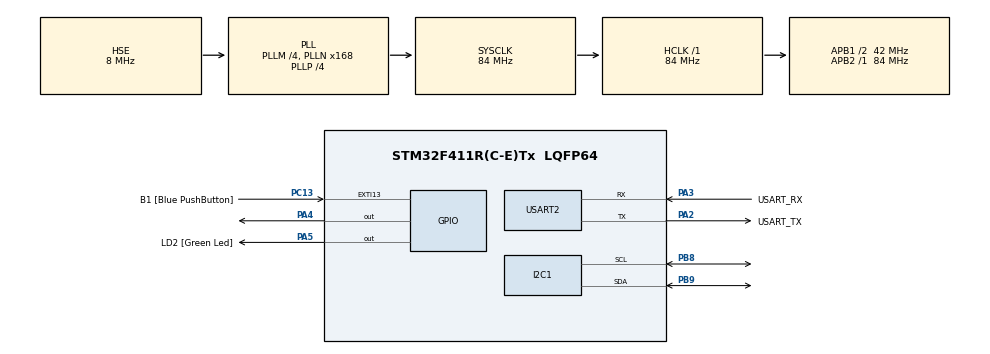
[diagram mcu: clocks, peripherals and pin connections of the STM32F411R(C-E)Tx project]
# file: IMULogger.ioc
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FREERTOS.Tasks01=defaultTask,24,128,StartDefaultTask,Default,NULL,Dynamic,NULL,NULL
FREERTOS.configCHECK_FOR_STACK_OVERFLOW=2
Mcu.Family=STM32F4
Mcu.Name=STM32F411R(C-E)Tx
Mcu.Package=LQFP64
NVIC.PriorityGroup=NVIC_PRIORITYGROUP_4
NVIC.TIM1_UP_TIM10_IRQn=true\:0\:0\:true\:false\:true\:false\:false\:true\:true
NVIC.TimeBase=TIM1_UP_TIM10_IRQn
NVIC.TimeBaseIP=TIM1
PA13.GPIO_Label=TMS
PA13.Mode=Serial_Wire
PA13.Signal=SYS_JTMS-SWDIO
PA14.GPIO_Label=TCK
PA14.Mode=Serial_Wire
PA14.Signal=SYS_JTCK-SWCLK
PA2.GPIO_Label=USART_TX
PA2.Mode=Asynchronous
PA2.Signal=USART2_TX
PA3.GPIO_Label=USART_RX
PA3.Mode=Asynchronous
PA3.Signal=USART2_RX
PA4.Signal=GPIO_Output
PA5.GPIO_Label=LD2 [Green Led]
PA5.Signal=GPIO_Output
PB13.Signal=SPI2_SCK
PB14.Signal=SPI2_MISO
PB15.Signal=SPI2_MOSI
PB3.GPIO_Label=SWO
PB3.Signal=SYS_JTDO-SWO
PB8.Mode=I2C
PB8.Signal=I2C1_SCL
PB9.Mode=I2C
PB9.Signal=I2C1_SDA
PC13-ANTI_TAMP.GPIO_Label=B1 [Blue PushButton]
PC13-ANTI_TAMP.GPIO_ModeDefaultEXTI=GPIO_MODE_IT_FALLING
PC13-ANTI_TAMP.Signal=GPXTI13
PC14-OSC32_IN.Mode=LSE-External-Oscillator
PC14-OSC32_IN.Signal=RCC_OSC32_IN
PC15-OSC32_OUT.Mode=LSE-External-Oscillator
PC15-OSC32_OUT.Signal=RCC_OSC32_OUT
PH0\ -\ OSC_IN.Mode=HSE-External-Clock-Source
PH0\ -\ OSC_IN.Signal=RCC_OSC_IN
PH1\ -\ OSC_OUT.Mode=HSE-External-Clock-Source
PH1\ -\ OSC_OUT.Signal=RCC_OSC_OUT
ProjectManager.HeapSize=0x200
ProjectManager.StackSize=0x400
ProjectManager.TargetToolchain=STM32CubeIDE
RCC.48MHZClocksFreq_Value=84000000
RCC.AHBFreq_Value=84000000
RCC.APB1CLKDivider=RCC_HCLK_DIV2
RCC.APB1Freq_Value=42000000
RCC.APB1TimFreq_Value=84000000
RCC.APB2Freq_Value=84000000
RCC.APB2TimFreq_Value=84000000
RCC.CortexFreq_Value=84000000
RCC.FLatency-AdvancedSettings=FLASH_LATENCY_2
RCC.HCLKFreq_Value=84000000
RCC.HSE_VALUE=8000000
RCC.HSI_VALUE=16000000
RCC.PLLM=4
RCC.PLLN=168
RCC.PLLP=RCC_PLLP_DIV4
RCC.PLLSourceVirtual=RCC_PLLSOURCE_HSE
RCC.SYSCLKFreq_VALUE=84000000
RCC.SYSCLKSource=RCC_SYSCLKSOURCE_PLLCLK
RCC.VCOOutputFreq_Value=336000000
USART2.VirtualMode=VM_ASYNC
VP_FREERTOS_VS_CMSIS_V2.Mode=CMSIS_V2
VP_SYS_VS_tim1.Mode=TIM1
board=NUCLEO-F411RE

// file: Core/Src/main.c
/* USER CODE BEGIN Header */
/**
  ******************************************************************************
  * @file           : main.c
  * @brief          : Main program body
  ******************************************************************************
  * @attention
  *
  * Copyright (c) 2026 STMicroelectronics.
  * All rights reserved.
  *
  * This software is licensed under terms that can be found in the LICENSE file
  * in the root directory of this software component.
  * If no LICENSE file comes with this software, it is provided AS-IS.
  *
  ******************************************************************************
  */
/* USER CODE END Header */
#include "main.h"
#include "cmsis_os.h"

/* USER CODE BEGIN Includes */
#include <math.h>
#include <string.h>
#include "ff.h"
#include "FreeRTOS.h"
#include "task.h"
#include "queue.h"
/* USER CODE END Includes */

/* USER CODE BEGIN PD */
#define SD_POWER_CYCLE_TEST 0   // shield bring-up: power-cycle the SD card at boot. Set to 0 when done.

/* USER CODE END PD */

I2C_HandleTypeDef hi2c1;

UART_HandleTypeDef huart2;

/* Definitions for defaultTask */
osThreadId_t defaultTaskHandle;
const osThreadAttr_t defaultTask_attributes = {
  .name = "defaultTask",
  .stack_size = 128 * 4,
  .priority = (osPriority_t) osPriorityNormal,
};
/* USER CODE BEGIN PV */
uint8_t sd_buf[512];
FATFS fs;
FIL file;
/* USER CODE END PV */

void SystemClock_Config(void);
static void MX_GPIO_Init(void);
static void MX_USART2_UART_Init(void);
static void MX_I2C1_Init(void);
void StartDefaultTask(void *argument);

/* USER CODE BEGIN PFP */
void imu_task(void *arg);
void filter_task(void *arg);
void sd_task(void *arg);
void sdw_task(void *arg);

/* USER CODE END PFP */

/* USER CODE BEGIN 0 */
void delay_ms(uint32_t ms) {
  if (xTaskGetSchedulerState() == taskSCHEDULER_RUNNING)
    vTaskDelay(pdMS_TO_TICKS(ms));   // inside a task: sleep, CPU goes to other tasks
  else
    HAL_Delay(ms);                   // before FreeRTOS starts: busy-wait on HAL's tick
}

/* ---------------- UART2 ---------------- */
void uart2_init(void) {
  RCC->AHB1ENR |= (1 << 0);// GPIOA clock (from before)
  RCC->APB1ENR |= (1 << 17);//USARTEN enable
  	// USART2 clock (new)
  GPIOA->MODER &= ~(3 << (2*2));//Resetting the 2 pio's at pin 2 to 0
  GPIOA->MODER |= (2 << (2*2));
  GPIOA->MODER &= ~(3 << (2*3));
  GPIOA->MODER |= (2 << (2*3));
  GPIOA->AFR[0] &= ~(0xF << (4*2));
  GPIOA->AFR[0] |=  (7   << (4*2));   // PA2 → AF7 (USART2)
  GPIOA->AFR[0] &= ~(0xF << (4*3));
  GPIOA->AFR[0] |=  (7   << (4*3));   // PA3 → AF7 (USART2)

  USART2->BRR = (22 << 4) | 13; //Setting Baud Rate Register via conversion formula
  USART2->CR1 |= (1<<13); //Activating the USART2
  USART2->CR1 |= (1<<3); //Transmitter Enabled
  USART2->CR1 |= (1<<2); //Receiver Enabled
}

void sendChar(char c) {
	while (!(USART2->SR & (1<<7)));
	USART2->DR = c;
}
void sendStr(char *str) {
	while (*str) {
		sendChar(*str);
		str++;
	}
}

void sendInt(int16_t v) {
	char buf[7];
	int i = 6;
	uint16_t u;

	if (v < 0) { sendStr("-"); u = -(int32_t)v; } else u = v;

	buf[i] = '\0';
	do { buf[--i] = '0' + (u % 10); u /= 10; } while (u);
	sendStr(&buf[i]);
}

void sendFloat(float v) {
	uint16_t m;
	float u;
	float d;

	if (v < 0) { sendStr("-"); u = -(float)v; } else u = v;

	m = u;
	d = (u - m)*100;

	sendInt(m);
	sendStr(".");
	if (d < 10) {
			sendStr("0");
		}
	sendInt(d);
}

void sendHex(uint8_t b) {
	char hex[] ="0123456789ABCDEF";
	sendChar(hex[b >> 4]);
	sendChar(hex[b & 0x0F]);
}

void sendU32(uint32_t u) {          // sendInt tops out at 32767, counters can go higher
	char buf[11];
	int i = 10;
	buf[i] = '\0';
	do { buf[--i] = '0' + (u % 10); u /= 10; } while (u);
	sendStr(&buf[i]);
}

/* ---------------- I2C1 ---------------- */
void i2c1_init(void) {
  RCC->AHB1ENR |= (1 << 1);   // GPIOB clock enable (bit 1 = port B)
  RCC->APB1ENR |= (1 << 21);// I2C1EN
  GPIOB->MODER &= ~(0xF << (8*2)); // resetting pins PB8 and PB9 to 0
  GPIOB->MODER |= (0xA << (8*2)); //setting PB8 and PB9 to AF mode (1010)

  GPIOB->AFR[1] &= ~((0xF << 0) | (0xF << 4));
  GPIOB->AFR[1] |= (4 << 0) | (4 << 4);  // PB8 = AF4 (4*0), PB9 = AF4 (4*1) (I2C)

  GPIOB->OTYPER |= (1 << 8) | (1 << 9); //Setting pin 8 and 9 to open-drain
  GPIOB->PUPDR &= ~(0xF << 16); //Resetting pins
  GPIOB->PUPDR |= (0X5 << 16); //Setting the pins to 01 and 01

  I2C1->CR1 |= (1 << 15);    // SOFTWARE RESET or SWRST
  I2C1->CR1 &= ~(1 << 15);
  I2C1->CR2 |= (42 << 0); //Telling the I2C the clock speed (42MHz apb1)
  I2C1->CCR |= (210 << 0); //Using the formula from the ref sheet to set clock to 100kHz
  I2C1->TRISE = 43; //telling the I2C to wait 43 clock ticks before registering signal
  I2C1->CR1 |= (1 << 0); //Enabling peripheral
}

uint8_t i2c_wait(uint16_t mask) {
	uint32_t start = HAL_GetTick();
	while(!(I2C1->SR1 & mask)) {
		if (HAL_GetTick() - start > 2) return 0;
	}
	return 1;
}

uint8_t i2c_fail(void) {
	I2C1->CR1 |= (1<<9);
	I2C1->CR1 |= (1<<10);
	return 0;
}

uint8_t i2c_start(void) {
	I2C1->CR1 |= (1<<8); //generate a start condition
	return i2c_wait(1 << 0);
}

uint8_t i2c_addr(uint8_t addr, uint8_t read) {
    uint32_t t = 200000;

    I2C1->DR = (addr << 1) | read;

    while (!(I2C1->SR1 & (1 << 1))) {       // wait for ADDR
        if (I2C1->SR1 & (1 << 10)) {        // AF = nobody answered
            I2C1->SR1 = ~(1 << 10);         // clear AF
            I2C1->CR1 |= (1 << 9);          // STOP, release the bus
            return 0;
        }
        if (--t == 0) {
            I2C1->CR1 |= (1 << 9);          // STOP
            return 0;
        }
    }

    (void)I2C1->SR1;
    (void)I2C1->SR2;                        // clear ADDR
    return 1;
}

uint8_t i2c_write(uint8_t data) {
	if (!i2c_wait(1 << 7)) return 0;
	I2C1->DR = data;
	return i2c_wait(1 << 2);

}

void i2c_stop(void) {
	I2C1->CR1 |= (1<<9);
}

/* ---------------- SPI1 ---------------- */
void spi1_init(void) {
  RCC->AHB1ENR |= (1 << 0);// GPIOA clock (from before)
  RCC->AHB1ENR |= (1 << 1);   // GPIOB clock enable (bit 1 = port B)
  RCC->APB2ENR |= (1 << 12); //SPI1
  GPIOA->MODER &= ~((3 << 10 ) | (3 << 12) | (3 << 14));
  GPIOA->MODER |= ((2 << 10) | (2 << 12) | (2 << 14)); // RESETTING AND ENABLING AF FOR SPI

  GPIOA->AFR[0] &= ~((0xF << 20) | (0xF << 24) | (0xF << 28)); // RESETTING AND ASSIGNING AF5
  GPIOA->AFR[0] |= ((5 << 20) | (5 << 24) | (5 << 28));
  GPIOA->OSPEEDR |= (3 <<10) | (3 << 12) | (3 << 14); //fast pins

  GPIOB->MODER &= ~(3 << 12); //setting PB6 to be CS pin
  GPIOB->MODER |= (1 << 12); // set output
  GPIOB->BSRR = (1 << 6); //setting pin HIGH (basically setting it idle)

  GPIOA->PUPDR &= ~(3 << 12);
  GPIOA->PUPDR |= (1 << 12);

  SPI1->CR1 = (1 << 2) //MSTR:  stm32 is master
  	  	  	| (7 << 3) //BR: 84MHz / 256 = 328kHz (Sd cards need less than 400kHz)
			| (1 << 9) //SSM: handling CS in software
			| (1 << 8);//SSI: needed with SSM or SPI will shut off
  SPI1->CR1 |= (1 << 6); //SPE: turn SPI on

}

uint8_t spi_transfer(uint8_t b)
{
	while (!(SPI1->SR & (1 << 1))); //Waiting to send byte
	SPI1->DR = b;
	while(!(SPI1->SR & (1 << 0))); // waiting to receive bite
	return SPI1->DR; // read data
}

/* ---------------- SPI1 TX DMA (DMA2 Stream3, Channel 3) ----------------
   Sends a whole block to the SD card while the CPU does other work.
   FROM = buf (moves forward), TO = SPI1->DR (stays put), HOW MANY = n.
   SPI1 raises a DMA request every time TXE = 1 ("ready for the next byte"),
   the DMA copies one byte, and when the count hits 0 it fires an interrupt. */
#define SPI_DMA        DMA2_Stream3          // (Stream5 is kept free for USART1_RX -> ESP32 link later)
#define SPI_DMA_FLAGS  (DMA_LIFCR_CTCIF3 | DMA_LIFCR_CHTIF3 | DMA_LIFCR_CTEIF3 | \
                        DMA_LIFCR_CDMEIF3 | DMA_LIFCR_CFEIF3)

static TaskHandle_t     spi_dma_waiter = NULL;   // task sleeping until the block is sent
static volatile uint8_t spi_dma_err    = 0;

void spi1_dma_init(void) {
  RCC->AHB1ENR |= RCC_AHB1ENR_DMA2EN;           // DMA2 clock on
  SPI_DMA->CR &= ~DMA_SxCR_EN;
  while (SPI_DMA->CR & DMA_SxCR_EN);            // stream must be fully off before setup

  SPI_DMA->PAR = (uint32_t)&SPI1->DR;           // TO: SPI data register (fixed)
  SPI_DMA->CR  = (3 << 25)                      // CHSEL = 3 -> this stream listens to SPI1_TX
               | (2 << 16)                      // PL = high priority
               | DMA_SxCR_MINC                  // memory side moves forward (PINC stays off!)
               | (1 << 6);                      // DIR = 01: memory -> peripheral
                                                // sizes = bytes, FIFO off (direct mode)

  // Priority 6: numerically >= configLIBRARY_MAX_SYSCALL_INTERRUPT_PRIORITY (5),
  // otherwise the handler is NOT allowed to call FreeRTOS ...FromISR functions.
  NVIC_SetPriority(DMA2_Stream3_IRQn, 6);
  NVIC_EnableIRQ(DMA2_Stream3_IRQn);
}

/* Runs when the DMA finishes (or hits an error): wake the task that started it. */
void DMA2_Stream3_IRQHandler(void) {
  BaseType_t woke = pdFALSE;
  uint32_t isr = DMA2->LISR;                    // streams 0-3 report in LISR, 4-7 in HISR
  DMA2->LIFCR = SPI_DMA_FLAGS;                  // clear this stream's flags
  if (isr & DMA_LISR_TEIF3) spi_dma_err = 1;
  if (spi_dma_waiter) vTaskNotifyGiveFromISR(spi_dma_waiter, &woke);
  portYIELD_FROM_ISR(woke);                     // switch straight to it if it outranks us
}

/* Send n bytes with DMA. Returns 1 = ok, 0 = timeout/error.
   Inside a task: the task SLEEPS until the DMA interrupt wakes it.
   Before the scheduler starts (f_mount etc.): no tasks yet, so just poll the flag. */
uint8_t spi1_dma_send(const uint8_t *buf, uint16_t n) {
  uint8_t in_task = (xTaskGetSchedulerState() == taskSCHEDULER_RUNNING);
  uint8_t ok = 1;

  while (!(SPI1->SR & SPI_SR_TXE));             // last polled byte handed over
  DMA2->LIFCR   = SPI_DMA_FLAGS;
  SPI_DMA->M0AR = (uint32_t)buf;                // FROM
  SPI_DMA->NDTR = n;                            // HOW MANY
  spi_dma_err   = 0;

  if (in_task) {
    ulTaskNotifyTake(pdTRUE, 0);                // throw away any stale wake-up
    spi_dma_waiter = xTaskGetCurrentTaskHandle();
    SPI_DMA->CR |=  (DMA_SxCR_TCIE | DMA_SxCR_TEIE);
  } else {
    spi_dma_waiter = NULL;
    SPI_DMA->CR &= ~(DMA_SxCR_TCIE | DMA_SxCR_TEIE);   // no interrupt: we poll TCIF ourselves
  }

  SPI_DMA->CR |= DMA_SxCR_EN;                   // copier armed...
  SPI1->CR2   |= SPI_CR2_TXDMAEN;               // ...and SPI1 may now request bytes

  if (in_task) {
    // 512 bytes at 10.5 MHz ~ 0.4 ms. Sleep; other tasks get the CPU.
    if (ulTaskNotifyTake(pdTRUE, pdMS_TO_TICKS(20)) == 0) ok = 0;
  } else {
    uint32_t t = 2000000;
    while (!(DMA2->LISR & (DMA_LISR_TCIF3 | DMA_LISR_TEIF3)) && --t);
    if (!(DMA2->LISR & DMA_LISR_TCIF3)) ok = 0;
    DMA2->LIFCR = SPI_DMA_FLAGS;
  }
  if (spi_dma_err) ok = 0;
  spi_dma_waiter = NULL;

  SPI1->CR2   &= ~SPI_CR2_TXDMAEN;
  SPI_DMA->CR &= ~DMA_SxCR_EN;
  while (SPI_DMA->CR & DMA_SxCR_EN);

  // "DMA done" only means the last byte was handed to SPI1, not that it left the pin.
  while (!(SPI1->SR & SPI_SR_TXE));
  while (SPI1->SR & SPI_SR_BSY);

  // SPI receives a byte for every byte it sends. Nobody read those 512 replies,
  // so RXNE and OVR (overrun) are set. Clear them: read DR, then read SR.
  (void)SPI1->DR;
  (void)SPI1->SR;
  return ok;
}

/* ---------------- SD card reader ---------------- */
void sd_select(void)
{
    GPIOB->BSRR = (1 << 22);   // CS LOW
}

void sd_deselect(void)
{
    GPIOB->BSRR = (1 << 6);    // CS HIGH
    spi_transfer(0xFF);        // extra byte so the card lets go of MISO
}

void sd_power_up(void)
{
    GPIOB->BSRR = (1 << 6);    // CS HIGH
    for (int i = 0; i < 10; i++) spi_transfer(0xFF);   // 80 clocks
}

uint8_t sd_send_cmd(uint8_t cmd, uint32_t arg, uint8_t crc)
{
    uint8_t r = 0xFF;

    sd_select();

    spi_transfer(0x40 | cmd);   // command byte
    spi_transfer(arg >> 24);    // argument, top byte first
    spi_transfer(arg >> 16);
    spi_transfer(arg >> 8);
    spi_transfer(arg);          // bottom byte
    spi_transfer(crc);

    for (int i = 0; i < 10; i++) {
        r = spi_transfer(0xFF);
        if (r != 0xFF) break;
    }

    return r;   // CS stays LOW on purpose (see below)
}

uint8_t sd_init(void)
{
	// Back to slow speed: the card must be woken up below 400 kHz
	SPI1->CR1 &= ~(1 << 6);   // SPI off (speed can only change while off)
	SPI1->CR1 |=  (7 << 3);   // BR = 111 → 84 MHz / 256 ≈ 328 kHz
	SPI1->CR1 |=  (1 << 6);   // SPI on
    uint8_t r;
    uint8_t buf[4];

    sd_power_up();

    // waiting for  card that may be stuck mid-read from a previous run
    sd_select();
    for (int i = 0; i < 600; i++) spi_transfer(0xFF);
    sd_deselect();

    sd_select();
    uint32_t t = 0;
    while (spi_transfer(0xFF) != 0xFF && ++t < 50000);   // up to ~1.5 s
    sd_deselect();
    // CMD0: go to SPI mode
    // CMD0: go to SPI mode. Retry, because a stuck card may ignore the first one
    for (int tries = 0; tries < 10; tries++) {
        r = sd_send_cmd(0, 0, 0x95);
        sd_deselect();
        if (r == 0x01) break;
        delay_ms(10);
    }
    if (r != 0x01) { sendStr("CMD0 reply = 0x"); sendHex(r); sendStr("\r\n"); return 1; }

    // CMD8: voltage check
    r = sd_send_cmd(8, 0x1AA, 0x87);
    for (int i = 0; i < 4; i++) buf[i] = spi_transfer(0xFF);
    sd_deselect();
    if (r != 0x01 || buf[2] != 0x01 || buf[3] != 0xAA) return 2;

    // ACMD41: start up (keep asking, max ~1 s)
    for (int tries = 0; tries < 1000; tries++) {
        sd_send_cmd(55, 0, 0x01);
        sd_deselect();
        r = sd_send_cmd(41, 0x40000000, 0x01);
        sd_deselect();
        if (r == 0) break;
        delay_ms(1);
    }
    if (r != 0) return 3;

    // CMD58: check it's a high-capacity card
    r = sd_send_cmd(58, 0, 0x01);
    for (int i = 0; i < 4; i++) buf[i] = spi_transfer(0xFF);
    sd_deselect();
    if (r != 0 || !(buf[0] & 0x40)) return 4;

    // Speeding up SPI: BR = 010 -> 84 MHz / 8 = 10.5 MHz
    SPI1->CR1 &= ~(1 << 6);
    SPI1->CR1 &= ~(7 << 3);
    SPI1->CR1 |= (2 << 3);
    SPI1->CR1 |= (1 << 6);

    return 0;
}

uint8_t sd_read_block(uint32_t block, uint8_t *buf)
{
	uint8_t r = sd_send_cmd(17, block, 0x01); //read from desired block
	if (r != 0) { sd_deselect(); return 1; }

	//wait for the 0xFE start token
	for (int i = 0; i < 100000; i++) {
		r =spi_transfer(0xFF);
		if (r == 0xFE) break;
	}
	if (r != 0xFE) {sd_deselect(); return 2; }

	// read through 512 bytes
	for (int i = 0; i < 512; i++) buf[i] = spi_transfer(0xFF);  // 0xFF, not 0xFE
	spi_transfer(0xFF);   // CRC byte 1 (ignored)
	spi_transfer(0xFF);   // CRC byte 2 (ignored)
	sd_deselect();        // release the card
	return 0;
}

uint8_t sd_write_block(uint32_t block, const uint8_t *buf)
{
	uint8_t r = sd_send_cmd(24, block, 0x01);
	if (r != 0) {sd_deselect(); return 1; }

	spi_transfer(0xFF);
	spi_transfer(0xFE);                             // start token

	if (!spi1_dma_send(buf, 512)) { sd_deselect(); return 4; }   // the 512 data bytes, by DMA

	spi_transfer(0xFF);                             // CRC (ignored in SPI mode)
	spi_transfer(0xFF);
	for (int k = 0; k < 10; k++) {
	    r = spi_transfer(0xFF);
	    if (r != 0xFF) break;
	}

	if ((r & 0x1F) != 0x05) { sd_deselect(); return 2; }   // 0x05 = data accepted

	// The card holds MISO low (reads 0x00) while it programs its flash.
	// Usually short, sometimes 100+ ms. Spin briefly, then SLEEP 1 ms between checks
	// instead of burning the CPU.
	TickType_t t0 = xTaskGetTickCount();
	uint32_t spins = 0;
	while (spi_transfer(0xFF) == 0x00) {
		if (++spins < 100) continue;                 // ~0.15 ms of quick checks
		if (xTaskGetSchedulerState() == taskSCHEDULER_RUNNING) {
			if (xTaskGetTickCount() - t0 > pdMS_TO_TICKS(500)) { sd_deselect(); return 3; }
			vTaskDelay(1);
		} else if (spins > 500000) { sd_deselect(); return 3; }
	}

	sd_deselect();
	return 0;
}
/* ---------------- MPU-6050 ---------------- */

#define MPU_ADDR  0x68      // 7-bit address
#define WHO_AM_I  0x75
#define PWR_MGMT_1  0x6B
#define ACCEL_XOUT_H 0x3B
#define MPU_CONFIG  0x1A    // DLPF_CFG in bits 2:0 (the sensor's built-in low-pass filter)
#define GYRO_CONFIG 0x1B
#define ACCEL_CONFIG 0x1C

/* DLPF_CFG = 3: accel 44 Hz / gyro 42 Hz bandwidth, ~4.8 ms delay.
   We sample at 100 Hz, so anything above 50 Hz (motor/prop vibration on a drone)
   would alias - fold down and show up as a fake slow wobble. Cutting it off
   inside the sensor, before we sample, is the only place it can be removed.
   Side effect: the gyro's internal rate drops from 8 kHz to 1 kHz (still 10x ours). */
#define MPU_DLPF_44HZ 0x03

void mpu_probe(void) {
	uint32_t t;

	sendStr("bus busy = ");
	sendHex((I2C1->SR2 >> 1) & 1);      // BUSY flag: 1 means line stuck low
	sendStr("\r\n");

	I2C1->CR1 |= (1 << 8);              // START
	t = 200000;
	while (!(I2C1->SR1 & (1 << 0))) {
		if (--t == 0) { sendStr("FAIL: no start condition\r\n"); return; }
	}
	sendStr("start ok\r\n");

	I2C1->DR = (MPU_ADDR << 1) | 0;     // address + write
	t = 200000;
	while (!(I2C1->SR1 & (1 << 1))) {
		if (I2C1->SR1 & (1 << 10)) {    // AF = acknowledge failure
			sendStr("FAIL: NACK - nothing at 0x68\r\n");
			I2C1->SR1 = ~(1 << 10);
			I2C1->CR1 |= (1 << 9);
			return;
		}
		if (--t == 0) {
			sendStr("FAIL: timeout waiting ADDR\r\n");
			I2C1->CR1 |= (1 << 9);
			return;
		}
	}
	(void)I2C1->SR1;
	(void)I2C1->SR2;
	sendStr("addr ok - device answered\r\n");
	I2C1->CR1 |= (1 << 9);              // STOP
}

uint8_t mpu_write_reg(uint8_t reg, uint8_t val) {
    if (!i2c_start() || !i2c_addr(MPU_ADDR, 0) ||
        !i2c_write(reg) || !i2c_write(val)) return i2c_fail();
    i2c_stop();
    return 1;
}

uint8_t mpu_init(void) {
    return mpu_write_reg(PWR_MGMT_1, 0x01) &&
           mpu_write_reg(MPU_CONFIG, MPU_DLPF_44HZ) &&   // vibration filter (also re-applied after a reconnect)
           mpu_write_reg(ACCEL_CONFIG, 0x10) &&
           mpu_write_reg(GYRO_CONFIG, 0x18);
}

uint8_t mpu_read_burst(uint8_t reg, uint8_t *buf, uint8_t n) {
    if (!i2c_start() || !i2c_addr(MPU_ADDR, 0) || !i2c_write(reg)) return i2c_fail();

    I2C1->CR1 |= (1 << 10);                        // ACK on
    if (!i2c_start() || !i2c_addr(MPU_ADDR, 1)) return i2c_fail();

    while (n > 3) {
        if (!i2c_wait(1 << 6)) return i2c_fail();  // RXNE
        *buf++ = I2C1->DR;
        n--;
    }

    if (!i2c_wait(1 << 2)) return i2c_fail();      // BTF
    I2C1->CR1 &= ~(1 << 10);                       // ACK off
    *buf++ = I2C1->DR;
    I2C1->CR1 |= (1 << 9);                         // STOP
    *buf++ = I2C1->DR;
    if (!i2c_wait(1 << 6)) return i2c_fail();      // RXNE
    *buf++ = I2C1->DR;

    I2C1->CR1 |= (1 << 10);                        // ACK back on
    return 1;
}
/* ^ polling version, no longer used by the tasks. Kept to compare against the DMA
     version on the logic analyzer (PA8 high time). */

/* ---------------- I2C1 RX DMA (DMA1 Stream5, Channel 1) ----------------
   FROM = I2C1->DR (stays put), TO = buf (moves forward), HOW MANY = n.
   I2C1 raises a DMA request every time RXNE = 1 ("a byte just landed in DR"). */
#define I2C_DMA        DMA1_Stream5
#define I2C_DMA_FLAGS  (DMA_HIFCR_CTCIF5 | DMA_HIFCR_CHTIF5 | DMA_HIFCR_CTEIF5 | \
                        DMA_HIFCR_CDMEIF5 | DMA_HIFCR_CFEIF5)

static TaskHandle_t     i2c_dma_waiter = NULL;
static volatile uint8_t i2c_dma_err    = 0;

void i2c1_dma_init(void) {
  RCC->AHB1ENR |= RCC_AHB1ENR_DMA1EN;           // DMA1 clock on
  I2C_DMA->CR &= ~DMA_SxCR_EN;
  while (I2C_DMA->CR & DMA_SxCR_EN);

  I2C_DMA->PAR = (uint32_t)&I2C1->DR;           // FROM: I2C data register (fixed)
  I2C_DMA->CR  = (1 << 25)                      // CHSEL = 1 -> this stream listens to I2C1_RX
               | (3 << 16)                      // PL = very high: ST errata says I2C DMA must never be kept waiting
               | DMA_SxCR_MINC                  // memory side moves forward (PINC stays off!)
               | DMA_SxCR_TCIE | DMA_SxCR_TEIE; // interrupt on done / error
                                                // DIR = 00: peripheral -> memory, bytes, direct mode
  NVIC_SetPriority(DMA1_Stream5_IRQn, 6);       // >= 5 so it may call FreeRTOS FromISR
  NVIC_EnableIRQ(DMA1_Stream5_IRQn);
}

void DMA1_Stream5_IRQHandler(void) {
  BaseType_t woke = pdFALSE;
  uint32_t isr = DMA1->HISR;
  DMA1->HIFCR = I2C_DMA_FLAGS;
  if (isr & DMA_HISR_TCIF5) I2C1->CR1 |= I2C_CR1_STOP;   // last byte is in: release the bus now
  if (isr & DMA_HISR_TEIF5) i2c_dma_err = 1;
  if (i2c_dma_waiter) vTaskNotifyGiveFromISR(i2c_dma_waiter, &woke);
  portYIELD_FROM_ISR(woke);
}

static void i2c_dma_stop(void) {
  I2C1->CR2   &= ~(I2C_CR2_DMAEN | I2C_CR2_LAST);
  I2C_DMA->CR &= ~DMA_SxCR_EN;
  while (I2C_DMA->CR & DMA_SxCR_EN);
  i2c_dma_waiter = NULL;
  DMA1->HIFCR = I2C_DMA_FLAGS;
}

/* Burst-read n (>= 2) registers starting at reg. Task context only.
   The CPU sends the register address (1 byte, fast), then the DMA collects
   all n bytes while this task sleeps. Returns 1 = ok, 0 = fail. */
uint8_t mpu_read_burst_dma(uint8_t reg, uint8_t *buf, uint8_t n) {
  if (n < 2) return 0;

  // 1) Tell the sensor where to start reading (CPU, polling - it's 1 byte)
  if (!i2c_start() || !i2c_addr(MPU_ADDR, 0) || !i2c_write(reg)) return i2c_fail();

  // 2) Arm the copier: TO = buf, HOW MANY = n (FROM was set once in init)
  I2C_DMA->CR &= ~DMA_SxCR_EN;
  while (I2C_DMA->CR & DMA_SxCR_EN);
  DMA1->HIFCR   = I2C_DMA_FLAGS;
  I2C_DMA->M0AR = (uint32_t)buf;
  I2C_DMA->NDTR = n;
  i2c_dma_err   = 0;
  ulTaskNotifyTake(pdTRUE, 0);                  // throw away any stale wake-up
  i2c_dma_waiter = xTaskGetCurrentTaskHandle();
  I2C_DMA->CR |= DMA_SxCR_EN;

  // 3) Let I2C1 request the DMA. LAST = hardware NACKs the final byte by itself
  //    (with polling, we had to do the BTF / ACK-off dance by hand for this).
  I2C1->CR1 |= I2C_CR1_ACK;
  I2C1->CR2 |= I2C_CR2_DMAEN | I2C_CR2_LAST;

  // 4) Repeated START + address with read bit. Clearing ADDR (inside i2c_addr)
  //    starts the bytes flowing - from here on it's all hardware.
  if (!i2c_start() || !i2c_addr(MPU_ADDR, 1)) { i2c_dma_stop(); return i2c_fail(); }

  // 5) Sleep until the DMA interrupt wakes us. 14 bytes at 100 kHz ~ 1.3 ms.
  uint8_t ok = (ulTaskNotifyTake(pdTRUE, pdMS_TO_TICKS(5)) != 0) && !i2c_dma_err;
  i2c_dma_stop();
  if (!ok) return i2c_fail();

  // STOP was requested in the interrupt; hardware clears the bit once it's sent.
  uint32_t t = 100000;
  while ((I2C1->CR1 & I2C_CR1_STOP) && --t);
  return 1;
}

/* ---------------- Task messages + queues ----------------*/
/* imu_task --[imu_q]--> filter_task --[log_q]--> sd_task --[full_q]--> sdw_task --> SD card
                                                      ^------[free_q]------'                */
typedef struct {
	uint32_t ms;        // tick when sampled
	uint8_t  raw[14];   // the burst read, untouched
	uint8_t  restart;   // 1 = first sample after (re)connecting: re-snap the filters
} imu_msg_t;

typedef struct {
	uint32_t ms;
	int16_t  ax, ay, az, gx, gy, gz;     // raw counts (gyro bias removed)
	int16_t  roll_x100, pitch_x100;      // degrees x 100
} log_msg_t;

static QueueHandle_t imu_q;   // 16 samples:  filter is fast, small cushion is enough
static QueueHandle_t log_q;   // 64 rows = 0.64 s cushion for slow SD writes

// stats, printed once a second by sd_task
static volatile uint32_t imu_drops = 0;    // imu_q was full, sample thrown away
static volatile uint32_t log_drops = 0;    // log_q was full, row thrown away
static volatile uint32_t imu_faults = 0;   // failed reads (sensor unplugged / asleep)
static volatile uint32_t imu_q_max = 0;    // worst backlog seen in each queue
static volatile uint32_t log_q_max = 0;

/* ---------------- Ping-pong SD blocks ----------------
   Two 512-byte blocks. sd_task (the formatter) fills one with CSV text while
   sdw_task (the writer) DMAs the other one to the card. They never touch the
   same block: a block index is either in free_q (empty, formatter's), in full_q
   (waiting for the writer) or being worked on by exactly one task. Swapping
   = passing a 1-byte index through a queue. No 512-byte copies.
   Every write is a whole, block-aligned 512 bytes, so FatFS hands blk[i]
   straight to disk_write -> the DMA reads directly from our buffer. */
#define BLK 512
static uint8_t blk[2][BLK] __attribute__((aligned(4)));
static QueueHandle_t free_q;   // empty blocks (formatter takes from here)
static QueueHandle_t full_q;   // full blocks  (writer takes from here)

static volatile uint32_t blocks_written = 0;
static volatile uint32_t blk_waits = 0;    // formatter had to wait for an empty block (writer too slow)
static volatile uint32_t sd_errors = 0;    // failed f_write / f_sync

/* ---------------- Gyro bias, measured at power-on ----------------
   A still gyro should read 0, but each one has an offset (bias) that changes
   with temperature, so hard-coded numbers go stale. filter_task averages the
   first 2 s of samples. If the board moved during that window (any axis swung
   more than GYRO_CAL_MAX_SPAN counts), it tries again; after 5 tries it keeps
   the old hand-measured values. Logging runs normally the whole time. */
#define GYRO_CAL_SAMPLES   200   // 2 s at 100 Hz
#define GYRO_CAL_MAX_SPAN  50    // counts, ~3 deg/s at 16.4 counts per deg/s
#define GYRO_CAL_TRIES     5

static volatile int16_t gyro_bias[3] = { -101, -52, -1 };   // fallback: the old hard-coded values
static volatile uint8_t gyro_cal_state = 0;   // 0 = measuring, 1 = measured, 2 = kept moving -> fallback

static TaskHandle_t imu_h, filter_h, sd_h, sdw_h;   // so sd_task can ask each task how much stack it used

void debug_pin_init(void) {
  RCC->AHB1ENR |= (1 << 0) | (1 << 1);   // GPIOA + GPIOB clocks on
  GPIOA->MODER &= ~(3 << 16);   // clear PA8's mode bits
  GPIOA->MODER |=  (1 << 16);   // PA8  (D7) = DBG_IMU, output
  GPIOB->MODER &= ~((3 << (2*5)) | (3 << (2*10)));
  GPIOB->MODER |=  ((1 << (2*5)) | (1 << (2*10)));   // PB5 (D4) = DBG_HB, PB10 (D6) = DBG_SD
  // Shield v1: PA9/PA10 now go to the XIAO (USART1), so they are NOT debug pins any more.
}

/* ---------------- Shield v1: switched SD power + card detect ----------------
   PC7 (D9) = SD_EN -> enable pin of the AP2112K 3.3 V regulator that powers the card.
   A 100k resistor on the board holds it LOW, so the card is OFF until we drive it HIGH.
   PB4 (D5) = SD_CD -> card-detect switch in the socket, 47k pull-up on the board. */
void shield_pins_init(void) {
  RCC->AHB1ENR |= (1 << 1) | (1 << 2);   // GPIOB + GPIOC clocks on
  GPIOC->BSRR   = (1 << (7 + 16));       // PC7 LOW first (card off), then make it an output
  GPIOC->MODER &= ~(3 << (2*7));
  GPIOC->MODER |=  (1 << (2*7));         // PC7 = output
  GPIOB->MODER &= ~(3 << (2*4));         // PB4 = input (00)
  GPIOB->PUPDR &= ~(3 << (2*4));         // no internal pull: the board has R9
}

uint8_t sd_card_present_pin(void) {
  return (GPIOB->IDR >> 4) & 1;          // raw level on PB4; which level = "card in" is measured in testing
}

void sd_rail_on(void) {
  GPIOC->BSRR = (1 << 7);                // PC7 HIGH -> regulator on
  delay_ms(20);                          // let SD_3V3 settle before talking to the card
  // give the SPI pins back to SPI1 (AF5) and park CS high (idle)
  GPIOA->MODER &= ~((3 << 10) | (3 << 14));
  GPIOA->MODER |=  ((2 << 10) | (2 << 14));   // PA5 SCK, PA7 MOSI = alternate function
  GPIOB->BSRR   = (1 << 6);                    // CS HIGH
  GPIOB->MODER &= ~(3 << 12);
  GPIOB->MODER |=  (1 << 12);                  // PB6 = output
}

void sd_rail_off(void) {
  // Pins first: a HIGH output pin would leak current into the unpowered card
  // ("back-powering") and it might never fully switch off.
  GPIOB->BSRR   = (1 << (6 + 16));             // CS LOW
  GPIOA->MODER &= ~((3 << 10) | (3 << 14));    // PA5, PA7 -> input (00), stop driving
  GPIOC->BSRR   = (1 << (7 + 16));             // PC7 LOW -> regulator off
  delay_ms(250);                               // let the rail's capacitors drain
}
/* USER CODE END 0 */

int main(void)
{

  /* MCU Configuration--------------------------------------------------------*/

  /* Reset of all peripherals, Initializes the Flash interface and the Systick. */
  HAL_Init();

  /* Configure the system clock */
  SystemClock_Config();

  /* Initialize all configured peripherals */
  MX_GPIO_Init();
  MX_USART2_UART_Init();
  MX_I2C1_Init();
  /* USER CODE BEGIN 2 */
  uart2_init();
  i2c1_init();
  i2c1_dma_init();
  spi1_init();
  spi1_dma_init();
  debug_pin_init();
  shield_pins_init();

  /* Why did we just boot? RCC->CSR keeps flags from the last reset.
     POR/BOR = the 3.3 V supply dipped, PIN = NRST pin pulled low,
     SOFT = software reset, IWDG/WWDG = a watchdog fired. */
  uint32_t csr = RCC->CSR;
  sendStr("reset cause:");
  if (csr & RCC_CSR_BORRSTF)  sendStr(" BOR");
  if (csr & RCC_CSR_PORRSTF)  sendStr(" POR");
  if (csr & RCC_CSR_PINRSTF)  sendStr(" PIN");
  if (csr & RCC_CSR_SFTRSTF)  sendStr(" SOFT");
  if (csr & RCC_CSR_IWDGRSTF) sendStr(" IWDG");
  if (csr & RCC_CSR_WWDGRSTF) sendStr(" WWDG");
  sendStr("\r\n");
  RCC->CSR |= RCC_CSR_RMVF;   // clear them so next boot shows only the new cause

  delay_ms(100);              // MPU boot time
  mpu_probe();                // does anything answer at 0x68?

  if (!mpu_init()) sendStr("MPU init FAIL\r\n");
  delay_ms(100);

  sendStr("SD_CD (PB4) = "); sendInt(sd_card_present_pin()); sendStr("\r\n");
  sd_rail_on();
  uint8_t sd_err = sd_init();
  sendStr("SD init = ");
  sendInt(sd_err);
  sendStr("\r\n");

#if SD_POWER_CYCLE_TEST
  /* Shield test: switch the card's power off and back on from firmware,
     then prove it still initialises. No USB unplug needed. */
  sendStr("power-cycle test: SD off\r\n");
  sd_rail_off();
  sendStr("SD_3V3 should read ~0 V now (3 s to measure)\r\n");
  delay_ms(3000);
  sd_rail_on();
  sd_err = sd_init();
  sendStr("after power-cycle, SD init = "); sendInt(sd_err); sendStr("\r\n");
#endif

  FRESULT r;
  r = f_mount(&fs, "", 1);                               sendStr("mount "); sendInt(r); sendStr("\r\n");
  char name[] = "LOG000.CSV";
  for (int n = 0; n <1000; n++) {
	name[3] = '0' + n/100;
	name[4] = '0' + (n/10)%10;
	name[5] = '0' + n % 10;
	r = f_open(&file, name, FA_WRITE | FA_CREATE_NEW);
	if (r != FR_EXIST) break;
  }
  sendStr("file "); sendStr(name); sendStr(" open "); sendInt(r); sendStr("\r\n");
  if (r != FR_OK) { sendStr("NO LOG FILE - stopping\r\n"); while (1); }
  // (header row is now written by sd_task into the first ping-pong block,
  //  so every write to the file stays a whole, aligned 512-byte block)

  /* USER CODE END 2 */

  /* Init scheduler */
  osKernelInitialize();

  /* USER CODE BEGIN RTOS_QUEUES */
  imu_q = xQueueCreate(16, sizeof(imu_msg_t));
  log_q = xQueueCreate(64, sizeof(log_msg_t));
  free_q = xQueueCreate(2, sizeof(uint8_t));
  full_q = xQueueCreate(2, sizeof(uint8_t));
  if (!imu_q || !log_q || !free_q || !full_q) sendStr("queue create FAIL\r\n");
  for (uint8_t i = 0; i < 2; i++) xQueueSend(free_q, &i, 0);   // both blocks start empty
  /* USER CODE END RTOS_QUEUES */

  /* Create the thread(s) */
  /* creation of defaultTask */
  defaultTaskHandle = osThreadNew(StartDefaultTask, NULL, &defaultTask_attributes);

  /* USER CODE BEGIN RTOS_THREADS */
  // Stack sizes are in words (4 bytes), sized from measured high-water marks
  // (used: imu 44, filter 96, sd ~132 words) with 2.7-3.9x margin.
  // sd was split into sd (formatter, no FatFS now) + sdw (writer, all FatFS calls):
  // measured 10 Oct: sd used 78 words (256 = 3.3x), sdw used 119 (384 = 3.2x).
  // Priorities on CubeMX's 0-55 scale:
  // sampling must never be late, SD writing is allowed to be late (the queues absorb it).
  // Writer is lowest: it mostly sleeps (DMA / card busy), and it must never
  // starve the formatter that keeps log_q drained.
  if (xTaskCreate(imu_task,    "imu",    128,  NULL, osPriorityHigh,        &imu_h) != pdPASS ||  // 40
      xTaskCreate(filter_task, "filter", 256,  NULL, osPriorityAboveNormal, &filter_h) != pdPASS ||  // 32
      xTaskCreate(sd_task,     "sd",     256,  NULL, osPriorityBelowNormal, &sd_h) != pdPASS ||    // 16
      xTaskCreate(sdw_task,    "sdw",    384,  NULL, osPriorityLow,         &sdw_h) != pdPASS)     // 8
    sendStr("task create FAIL (out of heap?)\r\n");
  // heartbeat (defaultTask, created by CubeMX above) is Normal = 24
  /* USER CODE END RTOS_THREADS */

  /* Start scheduler */
  osKernelStart();

  /* We should never get here as control is now taken by the scheduler */

  /* Infinite loop */
  while (1)
  {

  }
}

void SystemClock_Config(void)
{
  RCC_OscInitTypeDef RCC_OscInitStruct = {0};
  RCC_ClkInitTypeDef RCC_ClkInitStruct = {0};

  /** Configure the main internal regulator output voltage
  */
  __HAL_RCC_PWR_CLK_ENABLE();
  __HAL_PWR_VOLTAGESCALING_CONFIG(PWR_REGULATOR_VOLTAGE_SCALE1);

  /** Initializes the RCC Oscillators according to the specified parameters
  * in the RCC_OscInitTypeDef structure.
  */
  RCC_OscInitStruct.OscillatorType = RCC_OSCILLATORTYPE_HSE;
  RCC_OscInitStruct.HSEState = RCC_HSE_BYPASS;
  RCC_OscInitStruct.PLL.PLLState = RCC_PLL_ON;
  RCC_OscInitStruct.PLL.PLLSource = RCC_PLLSOURCE_HSE;
  RCC_OscInitStruct.PLL.PLLM = 4;
  RCC_OscInitStruct.PLL.PLLN = 168;
  RCC_OscInitStruct.PLL.PLLP = RCC_PLLP_DIV4;
  RCC_OscInitStruct.PLL.PLLQ = 4;
  if (HAL_RCC_OscConfig(&RCC_OscInitStruct) != HAL_OK)
  {
    Error_Handler();
  }

  /** Initializes the CPU, AHB and APB buses clocks
  */
  RCC_ClkInitStruct.ClockType = RCC_CLOCKTYPE_HCLK|RCC_CLOCKTYPE_SYSCLK
                              |RCC_CLOCKTYPE_PCLK1|RCC_CLOCKTYPE_PCLK2;
  RCC_ClkInitStruct.SYSCLKSource = RCC_SYSCLKSOURCE_PLLCLK;
  RCC_ClkInitStruct.AHBCLKDivider = RCC_SYSCLK_DIV1;
  RCC_ClkInitStruct.APB1CLKDivider = RCC_HCLK_DIV2;
  RCC_ClkInitStruct.APB2CLKDivider = RCC_HCLK_DIV1;

  if (HAL_RCC_ClockConfig(&RCC_ClkInitStruct, FLASH_LATENCY_2) != HAL_OK)
  {
    Error_Handler();
  }
}

static void MX_I2C1_Init(void)
{

  hi2c1.Instance = I2C1;
  hi2c1.Init.ClockSpeed = 100000;
  hi2c1.Init.DutyCycle = I2C_DUTYCYCLE_2;
  hi2c1.Init.OwnAddress1 = 0;
  hi2c1.Init.AddressingMode = I2C_ADDRESSINGMODE_7BIT;
  hi2c1.Init.DualAddressMode = I2C_DUALADDRESS_DISABLE;
  hi2c1.Init.OwnAddress2 = 0;
  hi2c1.Init.GeneralCallMode = I2C_GENERALCALL_DISABLE;
  hi2c1.Init.NoStretchMode = I2C_NOSTRETCH_DISABLE;
  if (HAL_I2C_Init(&hi2c1) != HAL_OK)
  {
    Error_Handler();
  }

}

static void MX_USART2_UART_Init(void)
{

  huart2.Instance = USART2;
  huart2.Init.BaudRate = 115200;
  huart2.Init.WordLength = UART_WORDLENGTH_8B;
  huart2.Init.StopBits = UART_STOPBITS_1;
  huart2.Init.Parity = UART_PARITY_NONE;
  huart2.Init.Mode = UART_MODE_TX_RX;
  huart2.Init.HwFlowCtl = UART_HWCONTROL_NONE;
  huart2.Init.OverSampling = UART_OVERSAMPLING_16;
  if (HAL_UART_Init(&huart2) != HAL_OK)
  {
    Error_Handler();
  }

}

static void MX_GPIO_Init(void)
{
  GPIO_InitTypeDef GPIO_InitStruct = {0};

  /* GPIO Ports Clock Enable */
  __HAL_RCC_GPIOC_CLK_ENABLE();
  __HAL_RCC_GPIOH_CLK_ENABLE();
  __HAL_RCC_GPIOA_CLK_ENABLE();
  __HAL_RCC_GPIOB_CLK_ENABLE();

  /*Configure GPIO pin Output Level */
  HAL_GPIO_WritePin(GPIOA, GPIO_PIN_4|LD2_Pin, GPIO_PIN_RESET);

  /*Configure GPIO pin : B1_Pin */
  GPIO_InitStruct.Pin = B1_Pin;
  GPIO_InitStruct.Mode = GPIO_MODE_IT_FALLING;
  GPIO_InitStruct.Pull = GPIO_NOPULL;
  HAL_GPIO_Init(B1_GPIO_Port, &GPIO_InitStruct);

  /*Configure GPIO pins : PA4 LD2_Pin */
  GPIO_InitStruct.Pin = GPIO_PIN_4|LD2_Pin;
  GPIO_InitStruct.Mode = GPIO_MODE_OUTPUT_PP;
  GPIO_InitStruct.Pull = GPIO_NOPULL;
  GPIO_InitStruct.Speed = GPIO_SPEED_FREQ_LOW;
  HAL_GPIO_Init(GPIOA, &GPIO_InitStruct);

  /*Configure GPIO pins : PB13 PB14 PB15 */
  GPIO_InitStruct.Pin = GPIO_PIN_13|GPIO_PIN_14|GPIO_PIN_15;
  GPIO_InitStruct.Mode = GPIO_MODE_AF_PP;
  GPIO_InitStruct.Pull = GPIO_NOPULL;
  GPIO_InitStruct.Speed = GPIO_SPEED_FREQ_VERY_HIGH;
  GPIO_InitStruct.Alternate = GPIO_AF5_SPI2;
  HAL_GPIO_Init(GPIOB, &GPIO_InitStruct);

}

/* USER CODE BEGIN 4 */
/* ---------------- Tasks ---------------- */

/* imu_task: read the MPU-6050 every 10 ms (100 Hz), hand the raw bytes on.
   The 14-byte read is done by DMA: this task sleeps ~1.3 ms while the bytes arrive. */
void imu_task(void *arg) {
  (void)arg;
  uint8_t restart = 1;
  TickType_t last = xTaskGetTickCount();

  for (;;) {
    vTaskDelayUntil(&last, pdMS_TO_TICKS(10));   // wake exactly every 10 ms

    imu_msg_t m;
    GPIOA->BSRR = (1 << 8);                        // debug pin HIGH = reading
    uint8_t ok = mpu_read_burst_dma(ACCEL_XOUT_H, m.raw, 14) &&
                 (m.raw[0] | m.raw[1] | m.raw[2] | m.raw[3] | m.raw[4] | m.raw[5]) != 0;  // all-zero = asleep (Bug 17)
    GPIOA->BSRR = (1 << (8 + 16));                 // debug pin LOW

    if (!ok) {                       // only this task touches I2C, so fix it right here
      imu_faults++;
      i2c1_init();                   // SWRST + reconfigure
      mpu_init();                    // sensor still missing? next read fails, we retry in 10 ms
      restart = 1;
      continue;
    }

    m.ms = xTaskGetTickCount();
    m.restart = restart;
    restart = 0;
    if (xQueueSend(imu_q, &m, 0) != pdPASS) imu_drops++;   // never wait: sampling can't be late
  }
}

/* filter_task: raw bytes -> scaled values -> roll/pitch (complementary filter). */
void filter_task(void *arg) {
  (void)arg;
  float angle = 0;     // filtered roll
  float pitch_f = 0;   // filtered pitch
  imu_msg_t m;

  // gyro bias calibration window
  int32_t  cal_sum[3] = {0, 0, 0};
  int16_t  cal_min[3] = {0, 0, 0}, cal_max[3] = {0, 0, 0};
  uint16_t cal_n = 0;
  uint8_t  cal_tries = 0;

  for (;;) {
    xQueueReceive(imu_q, &m, portMAX_DELAY);       // sleep until a sample arrives
    uint32_t n = uxQueueMessagesWaiting(imu_q) + 1;
    if (n > imu_q_max) imu_q_max = n;

    uint8_t *raw = m.raw;
    int16_t ax = (int16_t)((raw[0]  << 8) | raw[1]);
    int16_t ay = (int16_t)((raw[2]  << 8) | raw[3]);
    int16_t az = (int16_t)((raw[4]  << 8) | raw[5]);
    int16_t gx = (int16_t)((raw[8]  << 8) | raw[9]);
    int16_t gy = (int16_t)((raw[10] << 8) | raw[11]);
    int16_t gz = (int16_t)((raw[12] << 8) | raw[13]);

    // Calibrating: collect raw gyro readings (before any bias is removed)
    if (gyro_cal_state == 0) {
      int16_t g[3] = { gx, gy, gz };
      if (m.restart) cal_n = 0;                    // sensor just (re)connected: start the window over
      for (int k = 0; k < 3; k++) {
        if (cal_n == 0) { cal_sum[k] = 0; cal_min[k] = cal_max[k] = g[k]; }
        cal_sum[k] += g[k];
        if (g[k] < cal_min[k]) cal_min[k] = g[k];
        if (g[k] > cal_max[k]) cal_max[k] = g[k];
      }
      if (++cal_n == GYRO_CAL_SAMPLES) {
        uint8_t still = 1;
        for (int k = 0; k < 3; k++)
          if (cal_max[k] - cal_min[k] > GYRO_CAL_MAX_SPAN) still = 0;

        if (still) {
          for (int k = 0; k < 3; k++) {            // average, rounded to the nearest count
            int32_t s = cal_sum[k];
            gyro_bias[k] = (int16_t)((s >= 0 ? s + GYRO_CAL_SAMPLES/2 : s - GYRO_CAL_SAMPLES/2) / GYRO_CAL_SAMPLES);
          }
          gyro_cal_state = 1;
        } else if (++cal_tries >= GYRO_CAL_TRIES) {
          gyro_cal_state = 2;                      // never held still: keep the fallback values
        }
        cal_n = 0;                                 // (if moved, the next window starts now)
      }
    }

    // subtract gyroscope bias (fallback values until calibration finishes)
    gx -= gyro_bias[0];
    gy -= gyro_bias[1];
    gz -= gyro_bias[2];

    float ax_g = ax/4096.0f - 0.095f;
    float ay_g = ay/4096.0f + 0.025f;
    float az_g = az/4096.0f + 0.22f;

    float acc_angle = atan2f(ay_g, az_g) * 57.2958f;
    float acc_pitch = atan2f(-ax_g, sqrtf(ay_g*ay_g + az_g*az_g)) * 57.2958f;
    if (m.restart) {
      angle   = acc_angle;   // start both filters at the true angle, not 0
      pitch_f = acc_pitch;
    }
    float gx_dps = gx/16.4f;
    float gy_dps = gy/16.4f;

    float error = acc_angle - angle;
    if (error > 180)       error -= 360;
    else if (error < -180) error += 360;

    angle = (angle + gx_dps*0.01f) + 0.02f*error;
    if (angle > 180)       angle -= 360;
    else if (angle < -180) angle += 360;
    pitch_f = (pitch_f + gy_dps*0.01f) + 0.02f*(acc_pitch - pitch_f);
    if (pitch_f > 90)       pitch_f = 90;
    else if (pitch_f < -90) pitch_f = -90;

    log_msg_t row = { m.ms, ax, ay, az, gx, gy, gz,
                      (int16_t)(angle*100), (int16_t)(pitch_f*100) };
    if (xQueueSend(log_q, &row, 0) != pdPASS) log_drops++;
  }
}

/* ---- CSV formatting into the ping-pong blocks (sd_task only) ---- */
static uint8_t  fmt_cur;    // index of the block the formatter is filling
static uint16_t fmt_used;   // bytes already in it

static char *put_u32(char *p, uint32_t u) {
  char t[10];
  int i = 0;
  do { t[i++] = '0' + (u % 10); u /= 10; } while (u);
  while (i) *p++ = t[--i];
  return p;
}

static char *put_i16(char *p, int16_t v) {
  if (v < 0) { *p++ = '-'; return put_u32(p, (uint32_t)(-(int32_t)v)); }
  return put_u32(p, (uint32_t)v);
}

/* Add text to the current block. When it fills up: hand it to the writer and
   SWAP to the other block (no copying - just pass the index along). */
static void blk_append(const char *s, uint16_t len) {
  while (len) {
    uint16_t room = BLK - fmt_used;
    uint16_t k = (len < room) ? len : room;   // a row may be split across two blocks - that's fine,
    memcpy(&blk[fmt_cur][fmt_used], s, k);    // the file is just one long stream of bytes
    fmt_used += k; s += k; len -= k;

    if (fmt_used == BLK) {
      xQueueSend(full_q, &fmt_cur, portMAX_DELAY);          // full -> writer (never waits: only 2 blocks exist)
      if (xQueueReceive(free_q, &fmt_cur, 0) != pdPASS) {   // grab the other block
        blk_waits++;                                        // writer still busy with it: wait
        xQueueReceive(free_q, &fmt_cur, portMAX_DELAY);     // (rows pile up in log_q meanwhile)
      }
      fmt_used = 0;
    }
  }
}

/* sd_task (formatter): turn log rows into CSV text inside the ping-pong blocks.
   Never touches FatFS or SPI - that's sdw_task's job.
   Once per second of TIME (so it keeps reporting even if the sensor is gone): print stats.
   Every 10 s also print how much stack each task never touched. */
void sd_task(void *arg) {
  (void)arg;
  sendStr("tasks running\r\n");

  xQueueReceive(free_q, &fmt_cur, portMAX_DELAY);   // first empty block
  fmt_used = 0;
  static const char header[] = "ms,ax,ay,az,gx,gy,gz,roll_x100,pitch_x100\n";
  blk_append(header, sizeof(header) - 1);

  TickType_t next_report = xTaskGetTickCount() + pdMS_TO_TICKS(1000);
  uint8_t reports = 0;
  uint8_t cal_reported = 0;
  log_msg_t r;
  char line[80];   // longest row is ~75 chars

  for (;;) {
    // Wait for a row, but never past the next report time
    int32_t wait = (int32_t)(next_report - xTaskGetTickCount());
    if (wait < 0) wait = 0;

    if (xQueueReceive(log_q, &r, (TickType_t)wait) == pdPASS) {
      uint32_t n = uxQueueMessagesWaiting(log_q) + 1;
      if (n > log_q_max) log_q_max = n;

      // same format as the old f_printf: "ms, ax, ay, az, gx, gy, gz, roll, pitch\n"
      int16_t v[8] = { r.ax, r.ay, r.az, r.gx, r.gy, r.gz, r.roll_x100, r.pitch_x100 };
      char *p = put_u32(line, r.ms);
      for (int i = 0; i < 8; i++) { *p++ = ','; *p++ = ' '; p = put_i16(p, v[i]); }
      *p++ = '\n';
      blk_append(line, (uint16_t)(p - line));
    }

    if ((int32_t)(xTaskGetTickCount() - next_report) >= 0) {   // 1 s passed
      next_report += pdMS_TO_TICKS(1000);

      sendStr("imuq ");  sendInt((int16_t)imu_q_max);
      sendStr(" logq "); sendInt((int16_t)log_q_max);
      sendStr(" drop "); sendInt((int16_t)imu_drops); sendStr("/"); sendInt((int16_t)log_drops);
      sendStr(" fault "); sendInt((int16_t)imu_faults);
      sendStr(" blk ");  sendU32(blocks_written);
      sendStr(" wait "); sendU32(blk_waits);
      sendStr(" sderr "); sendU32(sd_errors); sendStr("\r\n");

      if (!cal_reported && gyro_cal_state != 0) {  // once, when calibration ends
        cal_reported = 1;
        sendStr(gyro_cal_state == 1 ? "gyro bias measured: " : "gyro moved during calibration, using defaults: ");
        sendInt(gyro_bias[0]); sendStr(" "); sendInt(gyro_bias[1]); sendStr(" "); sendInt(gyro_bias[2]);
        sendStr("\r\n");
      }

      if (++reports >= 10) {                       // every 10 s
        reports = 0;
        // "High-water mark" = the LEAST free stack a task has ever had, in words.
        // Small number = that task came close to running out.
        sendStr("stack free (words): imu ");  sendInt((int16_t)uxTaskGetStackHighWaterMark(imu_h));
        sendStr(" filter ");                  sendInt((int16_t)uxTaskGetStackHighWaterMark(filter_h));
        sendStr(" sd ");                      sendInt((int16_t)uxTaskGetStackHighWaterMark(sd_h));
        sendStr(" sdw ");                     sendInt((int16_t)uxTaskGetStackHighWaterMark(sdw_h));
        sendStr(" hb ");                      sendInt((int16_t)uxTaskGetStackHighWaterMark((TaskHandle_t)defaultTaskHandle));
        sendStr(" | heap min free (bytes): "); sendInt((int16_t)xPortGetMinimumEverFreeHeapSize());
        sendStr("\r\n");
      }
    }
  }
}

/* sdw_task (writer): the ONLY task that touches FatFS / SPI.
   Takes a full block, writes it (FatFS -> disk_write -> SPI DMA straight from
   blk[i]), gives the block back as empty. Saves the file once a second.
   Lowest priority: while it sleeps on the DMA or the card's busy time,
   the formatter keeps filling the other block. */
void sdw_task(void *arg) {
  (void)arg;

  // PB10 (Arduino D6, J_DBG "DBG_SD") = HIGH while writing a block or saving, for the logic analyzer
  // (pin set up in debug_pin_init; PA9 now belongs to the XIAO link)

  TickType_t next_sync = xTaskGetTickCount() + pdMS_TO_TICKS(1000);
  uint8_t i;

  for (;;) {
    int32_t wait = (int32_t)(next_sync - xTaskGetTickCount());
    if (wait < 0) wait = 0;

    if (xQueueReceive(full_q, &i, (TickType_t)wait) == pdPASS) {
      UINT bw = 0;
      GPIOB->BSRR = (1 << 10);                     // DBG_SD HIGH = writing
      FRESULT fr = f_write(&file, blk[i], BLK, &bw);
      GPIOB->BSRR = (1 << (10 + 16));              // DBG_SD LOW
      if (fr != FR_OK || bw != BLK) sd_errors++;
      else blocks_written++;
      xQueueSend(free_q, &i, 0);                   // block is empty again -> formatter
    }

    if ((int32_t)(xTaskGetTickCount() - next_sync) >= 0) {   // 1 s passed
      next_sync += pdMS_TO_TICKS(1000);
      GPIOB->BSRR = (1 << 10);
      if (f_sync(&file) != FR_OK) sd_errors++;     // update file size on the card
      GPIOB->BSRR = (1 << (10 + 16));
    }
  }
}

/* USER CODE END 4 */

void StartDefaultTask(void *argument)
{
  /* USER CODE BEGIN 5 */
  /* Heartbeat task: square wave on PB5 (Arduino D4, J_DBG "DBG_HB"), flips every 250 ms.
     Proves the scheduler is switching tasks. Watch it on the logic analyzer.
     (Was PA10. On the shield PA10 is the XIAO's TX line, so driving it would
     make two outputs fight. Pin is set up in debug_pin_init.) */
  uint8_t on = 0;
  for(;;)
  {
    on = !on;
    // BSRR, not ODR ^= : a read-modify-write of ODR could be interrupted by
    // imu_task changing PA8, and we'd write PA8's old value back.
    GPIOB->BSRR = on ? (1 << 5) : (1 << (5 + 16));
    vTaskDelay(pdMS_TO_TICKS(250));
  }
  /* USER CODE END 5 */
}

void HAL_TIM_PeriodElapsedCallback(TIM_HandleTypeDef *htim)
{
  if (htim->Instance == TIM1)
  {
    HAL_IncTick();
  }
}

void Error_Handler(void)
{
  __disable_irq();
  while (1)
  {
  }
}

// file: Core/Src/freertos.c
/* USER CODE BEGIN Header */
/**
  ******************************************************************************
  * File Name          : freertos.c
  * Description        : Code for freertos applications
  ******************************************************************************
  * @attention
  *
  * Copyright (c) 2026 STMicroelectronics.
  * All rights reserved.
  *
  * This software is licensed under terms that can be found in the LICENSE file
  * in the root directory of this software component.
  * If no LICENSE file comes with this software, it is provided AS-IS.
  *
  ******************************************************************************
  */
/* USER CODE END Header */

#include "FreeRTOS.h"
#include "task.h"
#include "main.h"

/* Hook prototypes */
void vApplicationStackOverflowHook(xTaskHandle xTask, signed char *pcTaskName);

/* USER CODE BEGIN 4 */
void vApplicationStackOverflowHook(xTaskHandle xTask, signed char *pcTaskName)
{
  /* FreeRTOS calls this when a task has run past the end of its stack.
     Memory may already be corrupted, so: say which task, then stop dead
     instead of carrying on with bad data. */
  extern void sendStr(char *str);
  (void)xTask;
  taskDISABLE_INTERRUPTS();
  sendStr("\r\n!!! STACK OVERFLOW in task: ");
  sendStr((char *)pcTaskName);
  sendStr("\r\n");
  for (;;);
}
/* USER CODE END 4 */
